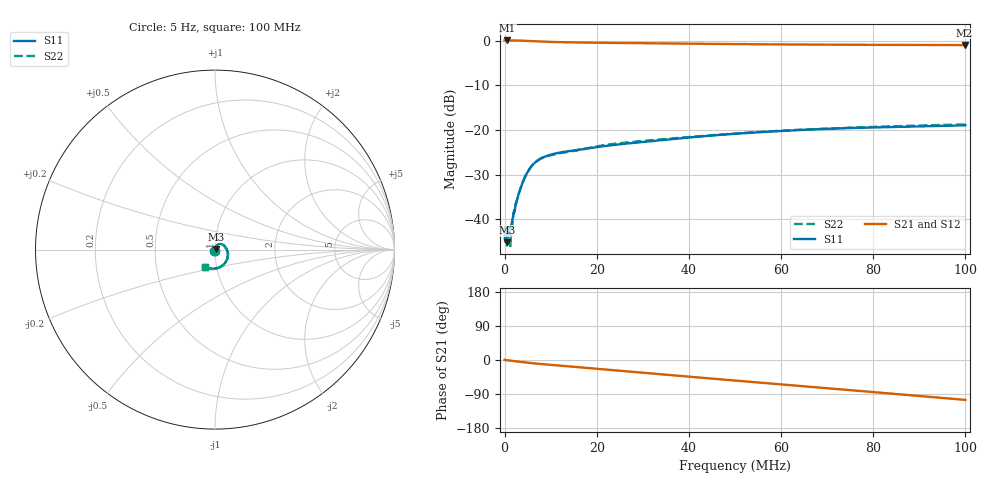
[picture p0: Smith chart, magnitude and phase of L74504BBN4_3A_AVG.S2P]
!Agilent Technologies,E5061B,MY49102235,A.02.00
!Date: Tue Jul 11 16:35:03 2023
!Data & Calibration Information:
!Freq	S11:SOLT2(ON)	S21:SOLT2(ON)	S12:SOLT2(ON)	S22:SOLT2(ON)
# Hz S RI R 50
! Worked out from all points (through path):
!   1600 points, 5 Hz to 100 MHz, reference 50 ohm
!   highest |S21| = 0.02 dB at 625.4 kHz (marker M1); lowest = -1.0 dB at 99.81 MHz (marker M2)
!   group delay of S21, straight-line fit = 2.86 ns
!   lowest |S11| = -45.2 dB at 500.3 kHz (marker M3), VSWR 1.01, Z = 50.5 + j0.288 ohm
!   |S11| at or under -10 dB: start of sweep to end of sweep
!   |S22| runs from -46.0 to -18.8 dB; largest |S21 - S12| = 0.0025
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5  -0.00521 -0.00562  1.002 0.00804  1 0.0102  -0.00148 -0.00755
500317.7  0.00471 0.00286  1.001 -0.011  1.002 -0.011  0.00492 0.00129
625395.8  0.00525 0.00351  1.002 -0.0146  1.002 -0.0142  0.00626 0.00312
938091.3  0.00466 0.0058  1.001 -0.0212  1.001 -0.0209  0.00622 0.00522
1313326  0.00502 0.00651  1 -0.0302  1.001 -0.0305  0.00323 0.00495
1688560  0.00465 0.00857  0.9997 -0.0406  1.001 -0.0406  0.00436 0.00774
2063795  0.00428 0.0115  1 -0.0501  0.9997 -0.0505  0.0047 0.0113
2376490  0.00484 0.0133  0.9983 -0.0575  0.9988 -0.0579  0.00549 0.0136
2939342  0.00684 0.0171  0.997 -0.072  0.9966 -0.0722  0.0058 0.0174
3439655  0.00842 0.0205  0.9947 -0.0847  0.9949 -0.0848  0.00731 0.0209
4565358  0.0139 0.0273  0.9874 -0.1129  0.9873 -0.1127  0.0136 0.0278
5878679  0.0237 0.0316  0.9756 -0.1423  0.9755 -0.1423  0.0232 0.0319
7504695  0.0346 0.0312  0.9602 -0.1725  0.9601 -0.1726  0.0345 0.0318
9443407  0.044 0.0272  0.9448 -0.2049  0.9447 -0.2049  0.0436 0.0272
1.669794e7  0.0597 0.0102  0.8941 -0.3195  0.894 -0.3193  0.0595 0.01
2.345216e7  0.0675 -0.00327  0.8408 -0.423  0.8406 -0.4227  0.0694 -0.00452
3.333334e7  0.0716 -0.0261  0.7421 -0.5598  0.742 -0.5596  0.0728 -0.0274
5.003127e7  0.061 -0.0669  0.5336 -0.7407  0.5335 -0.7406  0.0609 -0.068
6.672921e7  0.026 -0.0977  0.2903 -0.8529  0.2905 -0.8529  0.0268 -0.0983
8.33646e7  -0.0169 -0.1062  0.0296 -0.8938  0.0295 -0.8939  -0.0165 -0.1081
9.981238e7  -0.0577 -0.0967  -0.2314 -0.8588  -0.2314 -0.8591  -0.0577 -0.0994
1e8  -0.0583 -0.0966  -0.2345 -0.8581  -0.2344 -0.8581  -0.0582 -0.0994
